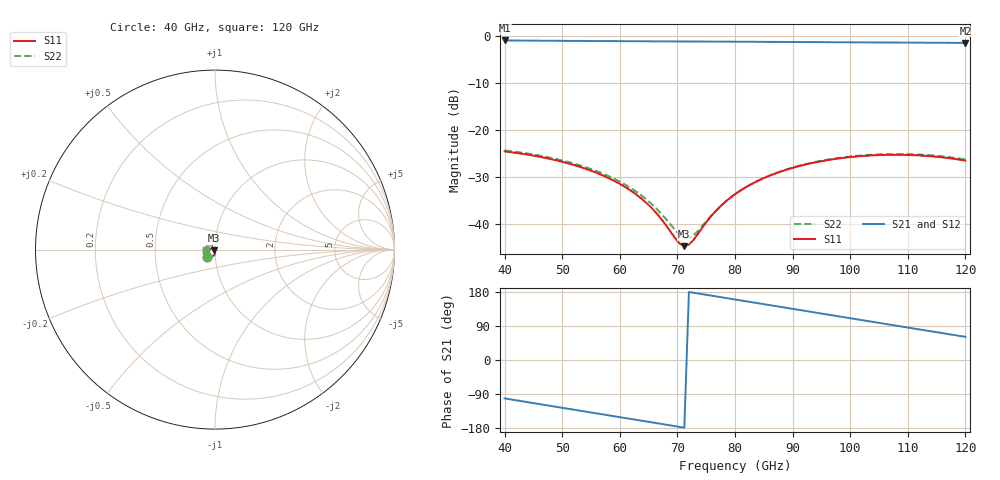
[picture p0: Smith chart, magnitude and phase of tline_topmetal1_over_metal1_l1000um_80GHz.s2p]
#  GHZ S DB R 50
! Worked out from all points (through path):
!   101 points, 40 GHz to 120 GHz, reference 50 ohm
!   highest |S21| = -0.86 dB at 40 GHz (marker M1); lowest = -1.4 dB at 120 GHz (marker M2)
!   group delay of S21, straight-line fit = 6.86 ps
!   lowest |S11| = -44.6 dB at 71.2 GHz (marker M3), VSWR 1.01, Z = 49.5 - j0.344 ohm
!   |S11| at or under -10 dB: start of sweep to end of sweep
!   |S22| runs from -42.8 to -24.3 dB; largest |S21 - S12| = 1.5e-13
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40  -24.47 -135.3  -0.86 -101.4  -0.86 -101.4  -24.27 -134.5
46.4  -25.68 -154.1  -0.92 -117.2  -0.92 -117.2  -25.44 -152.9
53.6  -27.96 -173.4  -0.97 -135.0  -0.97 -135.0  -27.64 -171.6
57.6  -29.88 177.2  -1.00 -144.9  -1.00 -144.9  -29.48 179.4
61.6  -32.56 169.8  -1.02 -154.8  -1.02 -154.8  -32.02 172.5
64.8  -35.63 167.2  -1.04 -162.7  -1.04 -162.7  -34.87 170.5
67.2  -38.84 170.7  -1.06 -168.6  -1.06 -168.6  -37.73 174.1
70.4  -44.07 -159.3  -1.07 -176.6  -1.07 -176.6  -42.17 -161.3
71.2  -44.62 -143.7  -1.08 -178.5  -1.08 -178.5  -42.80 -149.1
72  -44.30 -127.6  -1.08 179.5  -1.08 179.5  -42.85 -135.8
72.8  -43.28 -114.3  -1.09 177.5  -1.09 177.5  -42.31 -123.4
75.2  -39.24 -94.4  -1.10 171.6  -1.10 171.6  -39.07 -100.7
76.8  -36.96 -90.5  -1.11 167.6  -1.11 167.6  -36.93 -95.1
80  -33.57 -90.8  -1.13 159.7  -1.13 159.7  -33.58 -93.2
83.2  -31.19 -95.3  -1.15 151.8  -1.15 151.8  -31.18 -96.5
86.4  -29.44 -101.3  -1.17 143.9  -1.17 143.9  -29.40 -101.9
89.6  -28.11 -108.1  -1.19 136.0  -1.19 136.0  -28.05 -108.2
93.6  -26.88 -117.1  -1.21 126.1  -1.21 126.1  -26.79 -116.7
100.8  -25.58 -133.9  -1.26 108.3  -1.26 108.3  -25.45 -132.9
107.2  -25.19 -148.9  -1.30 92.6  -1.30 92.6  -25.03 -147.4
113.6  -25.46 -163.7  -1.34 76.8  -1.34 76.8  -25.27 -161.8
120  -26.42 -178.0  -1.38 61.1  -1.38 61.1  -26.19 -175.5
